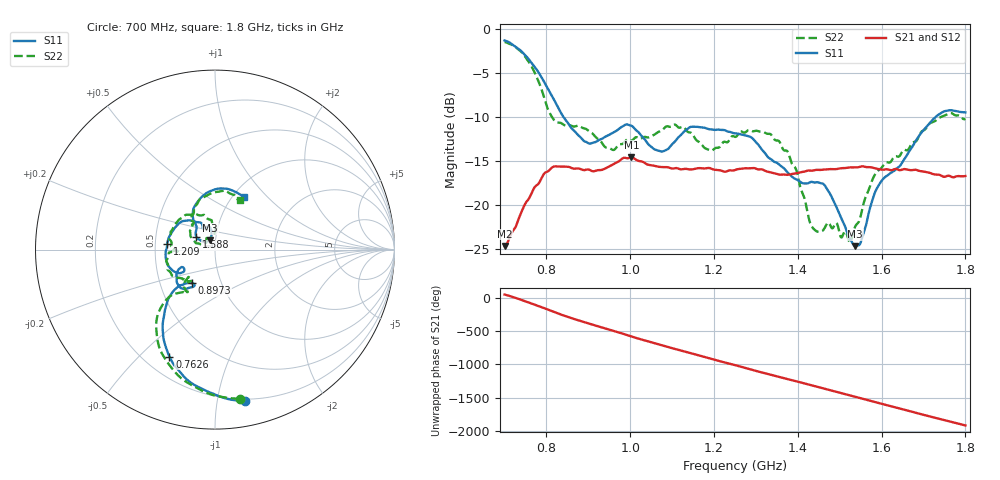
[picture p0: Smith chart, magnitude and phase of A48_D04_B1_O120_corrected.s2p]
! Created with skrf 1.9.0 (http://scikit-rf.org).
# Hz S RI R 50.0
!freq ReS11 ImS11 ReS21 ImS21 ReS12 ImS12 ReS22 ImS22
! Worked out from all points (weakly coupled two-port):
!   1601 points, 700 MHz to 1.8 GHz, reference 50 ohm
!   highest |S21| = -14.58 dB at 1.002 GHz (marker M1); lowest = -24.6 dB at 700 MHz (marker M2)
!   lowest |S11| = -24.6 dB at 1.537 GHz (marker M3), VSWR 1.12, Z = 47.2 + j4.96 ohm
!   |S11| at or under -10 dB: 840.5 MHz to 1.729 GHz (888.2 MHz wide, 69.1 % of centre)
!   |S22| runs from -24.2 to -1.5 dB; largest |S21 - S12| = 0.0034
!   S11 on the Smith chart (normalised r, x): 700 MHz: 0.19, -1.20; 762.6 MHz: 0.30, -0.62; 897.3 MHz: 0.73, -0.29; 1.209 GHz: 0.58, +0.04; 1.588 GHz: 0.81, +0.11; 1.8 GHz: 1.13, +0.75
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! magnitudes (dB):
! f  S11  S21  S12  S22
! 700 MHz  -1.3  -24.6  -24.4  -1.5
! 762.6 MHz  -3.8  -18.8  -18.8  -4.1
! 818.2 MHz  -8.1  -15.6  -15.7  -10.4
! 883.6 MHz  -12.4  -15.9  -15.8  -11.2
! 897.3 MHz  -12.9  -15.9  -16.0  -11.4
! 957.1 MHz  -11.8  -15.4  -15.4  -13.7
! 1.002 GHz  -11.0  -14.6  -14.7  -12.7
! 1.067 GHz  -13.8  -15.6  -15.6  -11.7
! 1.144 GHz  -11.1  -16.0  -15.9  -11.8
! 1.209 GHz  -11.4  -16.0  -16.0  -13.5
! 1.25 GHz  -11.9  -16.0  -15.9  -12.3
! 1.355 GHz  -15.4  -16.5  -16.4  -12.7
! 1.395 GHz  -17.0  -16.4  -16.4  -15.9
! 1.434 GHz  -17.4  -16.1  -16.0  -22.4
! 1.467 GHz  -18.0  -16.0  -15.9  -22.3
! 1.524 GHz  -23.8  -15.7  -15.7  -24.2
! 1.537 GHz  -24.6  -15.7  -15.7  -22.4
! 1.552 GHz  -24.0  -15.6  -15.6  -20.9
! 1.588 GHz  -18.1  -15.9  -15.8  -16.2
! 1.617 GHz  -16.5  -16.0  -15.9  -15.2
! 1.731 GHz  -9.9  -16.5  -16.5  -10.3
! 1.8 GHz  -9.5  -16.7  -16.7  -10.2
